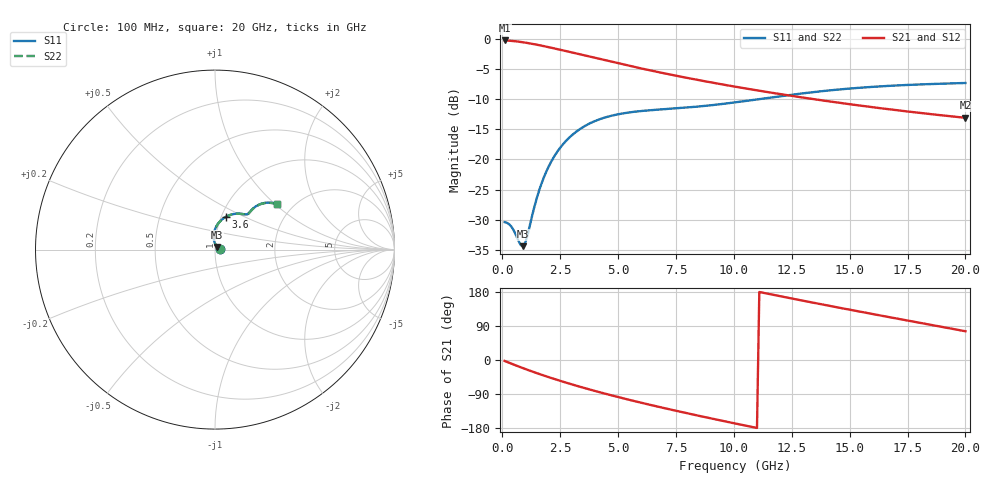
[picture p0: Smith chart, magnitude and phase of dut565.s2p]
! Touchstone file exported from HFSS 2024.1.0
!  File:  C:/UserFiles/LocalFiles/RDL_TSV_Batchsim/temp_RDL_TSV_565_1779753216.aedt
!  Generated:  08:10:25 AM May 26, 2026
!  Design:  RDL_TSV
!  Project:  temp_RDL_TSV_565_1779753216
!  Setup:  Setup1
!  Solution:  Sweep
! Variables:
!  dtsv = 14.4um
!  hbump = 3um
!  htsv = 88.44um
!  ldown = 417.67um
!  lrdl = 619.74um
!  p = 40
!  p1 = 44.07um
!  rhole = 10um
!  subl = 3731.97um
!  t = 450um
!  tdown = 2.65um
!  trdl = 3.61um
!  viad = 10um
!  wdown = 23.52um
!  wrdl = 10.08um
!  xbump = 18um
# GHz S MA R 50.000000
! Terminal data exported
! Port[1] = TM1_1_T1
! Port[2] = TM1_4_T1
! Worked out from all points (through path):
!   200 points, 100 MHz to 20 GHz, reference 50 ohm
!   highest |S21| = -0.27 dB at 100 MHz (marker M1); lowest = -13.1 dB at 20 GHz (marker M2)
!   group delay of S21, straight-line fit = 37.4 ps
!   lowest |S11| = -34.4 dB at 900 MHz (marker M3), VSWR 1.04, Z = 51.3 + j1.48 ohm
!   |S11| at or under -10 dB: start of sweep to 11.08 GHz
!   |S22| runs from -34.4 to -7.3 dB; largest |S21 - S12| = 9e-15
!   S11 on the Smith chart (normalised r, x): 100 MHz: 1.06, +0.00; 3.6 GHz: 1.05, +0.40; 20 GHz: 1.66, +1.04
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0.1  0.03022 1.9  0.969 -2.5  0.969 -2.5  0.03023 1.9
! Gamma 0 0 0 0
! Port Impedance 50 0 50 0
0.4  0.02764 7.2  0.9611 -9.9  0.9611 -9.9  0.02765 7.2
0.8  0.01948 34.3  0.9418 -19.3  0.9418 -19.3  0.0195 34.2
0.9  0.01912 48.9  0.9358 -21.6  0.9358 -21.6  0.01914 48.9
1  0.02063 64.1  0.9294 -23.9  0.9294 -23.9  0.02064 64.0
1.1  0.02403 76.6  0.9226 -26.2  0.9226 -26.2  0.02403 76.5
1.4  0.04147 94.1  0.9007 -32.7  0.9007 -32.7  0.04145 94.0
1.6  0.05603 96.6  0.8852 -37.0  0.8852 -37.0  0.056 96.5
2  0.08715 94.4  0.8529 -45.2  0.8529 -45.2  0.08708 94.4
2.7  0.139 84.7  0.7955 -58.8  0.7955 -58.8  0.1389 84.6
3.5  0.1862 73.3  0.7324 -73.2  0.7324 -73.2  0.186 73.3
3.6  0.191 72.0  0.7248 -74.9  0.7248 -74.9  0.1908 72.0
4.4  0.2217 63.0  0.6669 -88.2  0.6669 -88.2  0.2215 62.9
5.2  0.2407 56.3  0.6147 -100.8  0.6147 -100.8  0.2405 56.2
6.8  0.2595 48.9  0.5269 -124.3  0.5269 -124.3  0.2592 48.9
8.4  0.2739 47.2  0.4579 -146.1  0.4579 -146.1  0.2735 47.1
10.1  0.2981 47.3  0.3998 -168.1  0.3998 -168.1  0.2978 47.2
11.8  0.3303 46.6  0.3532 170.8  0.3532 170.8  0.3298 46.6
13.4  0.361 44.9  0.3171 151.5  0.3171 151.5  0.3605 44.8
15  0.387 42.4  0.2871 132.7  0.2871 132.7  0.3865 42.3
16.7  0.4074 39.8  0.2607 113.2  0.2607 113.2  0.4069 39.7
20  0.4303 36.3  0.2215 75.9  0.2215 75.9  0.4298 36.1
